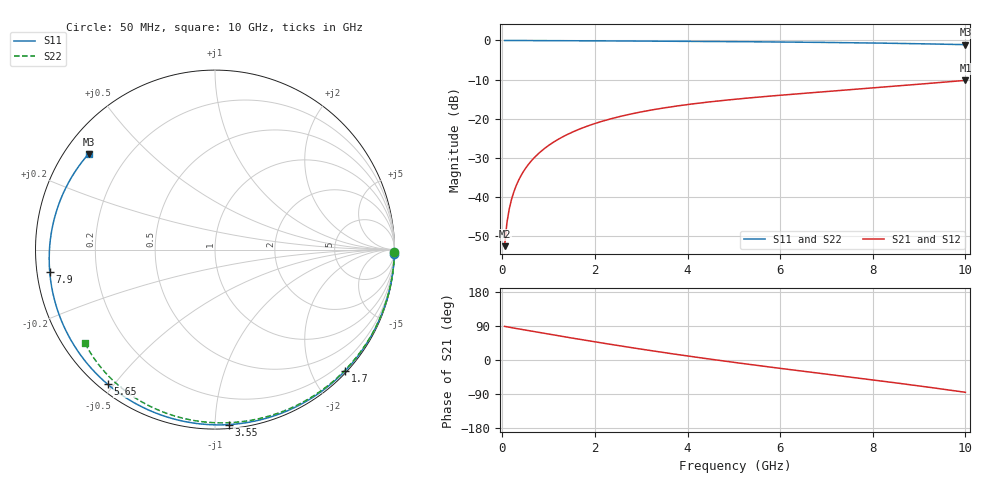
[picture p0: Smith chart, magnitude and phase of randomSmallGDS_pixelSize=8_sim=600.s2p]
! freq	dB(S11)	phase(S11)	dB(S12)	phase(S12)
!  dB(S21)	phase(S21)	dB(S22)	phase(S22)
!S-par simulation data
#  GHz  S  DB  R 50
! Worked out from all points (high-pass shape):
!   200 points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, 50 MHz to 10 GHz, reference 50 ohm
!   highest |S21| = -10.22 dB at 10 GHz (marker M1); lowest = -52.6 dB at 50 MHz (marker M2)
!   |S21| within 3 dB of the highest: 6.851 GHz to end of sweep
!   lowest |S11| = -1.1 dB at 10 GHz (marker M3), VSWR 16.15, Z = 3.44 + j16.7 ohm
!   |S11| at or under -10 dB: nowhere
!   |S22| runs from -1.0 to 0.0 dB; largest |S21 - S12| = 0
!   S11 on the Smith chart (normalised r, x): 50 MHz: 0, -88; 1.7 GHz: 0.03, -2.54; 3.55 GHz: 0.02, -1.08; 5.65 GHz: 0.03, -0.48; 7.9 GHz: 0.04, -0.07; 10 GHz: 0.07, +0.33
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0.05  -0.00 -1.3  -52.63 88.8  -52.63 88.8  -0.00 -0.9
0.1  -0.00 -2.6  -46.62 87.6  -46.62 87.6  -0.00 -1.7
0.15  -0.01 -3.9  -43.12 86.4  -43.12 86.4  -0.00 -2.6
0.2  -0.01 -5.2  -40.64 85.3  -40.64 85.3  -0.01 -3.4
0.3  -0.01 -7.7  -37.15 83.2  -37.15 83.2  -0.01 -5.1
0.45  -0.02 -11.6  -33.66 80.0  -33.66 80.0  -0.01 -7.7
0.65  -0.03 -16.7  -30.51 75.8  -30.51 75.8  -0.02 -11.1
0.95  -0.04 -24.3  -27.29 69.4  -27.29 69.4  -0.03 -16.1
1.7  -0.08 -42.9  -22.52 54.0  -22.52 54.0  -0.06 -28.6
1.75  -0.08 -44.2  -22.29 53.0  -22.29 53.0  -0.06 -29.4
2.55  -0.13 -63.2  -19.43 37.2  -19.43 37.2  -0.10 -42.4
3.4  -0.18 -82.3  -17.44 21.3  -17.44 21.3  -0.15 -55.7
3.55  -0.19 -85.6  -17.15 18.6  -17.15 18.6  -0.16 -58.0
4.3  -0.25 -101.5  -15.96 5.5  -15.96 5.5  -0.21 -69.2
5.05  -0.31 -116.7  -15.02 -7.0  -15.02 -7.0  -0.26 -80.0
5.65  -0.36 -128.5  -14.37 -16.6  -14.37 -16.6  -0.30 -88.4
6.7  -0.47 -148.8  -13.35 -32.8  -13.35 -32.8  -0.40 -102.6
7.3  -0.55 -160.4  -12.80 -41.9  -12.80 -41.9  -0.47 -110.4
7.9  -0.64 -172.2  -12.24 -51.1  -12.24 -51.1  -0.55 -118.1
8.35  -0.71 178.7  -11.82 -58.0  -11.82 -58.0  -0.62 -123.8
9.2  -0.88 160.9  -11.00 -71.7  -11.00 -71.7  -0.79 -134.4
10  -1.08 142.9  -10.22 -85.3  -10.22 -85.3  -0.99 -144.4
